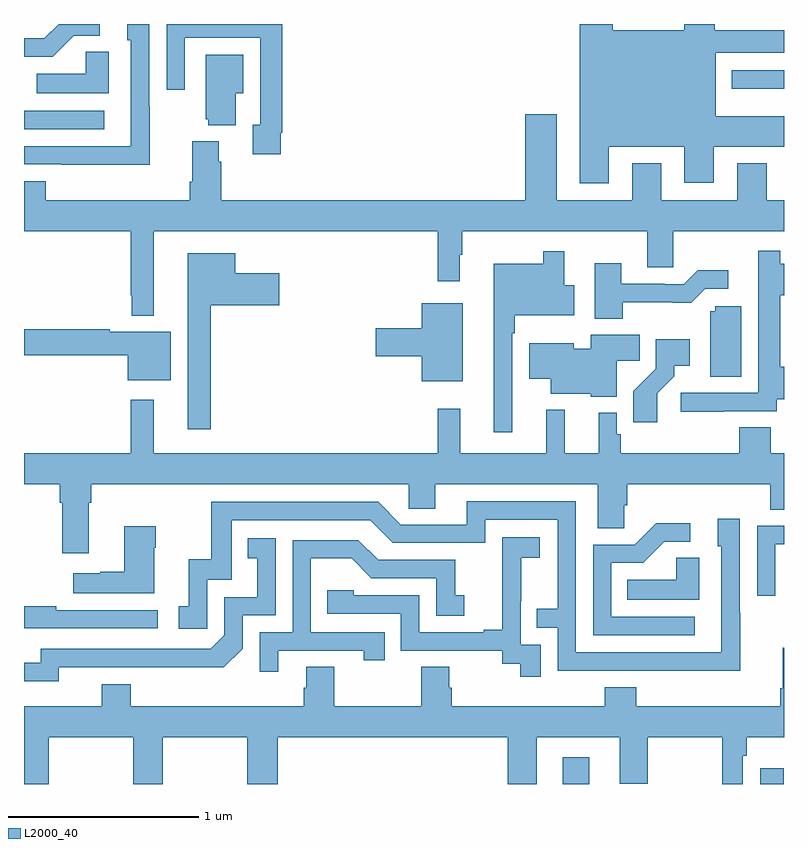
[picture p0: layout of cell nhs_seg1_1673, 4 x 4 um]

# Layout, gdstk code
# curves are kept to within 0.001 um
import gdstk
lib = gdstk.Library(unit=1e-6, precision=1e-09)
def R(c, l, rs):  # rectangles x0, y0, x1, y1
    for r in rs: c.add(gdstk.rectangle(r[:2], r[2:], *l))
def P(c, l, *ps):  # polygons
    for p in ps: c.add(gdstk.Polygon(p, *l))
L2000_40 = (2000, 40)

nhs_seg1_1673 = lib.new_cell('nhs_seg1_1673')
R(nhs_seg1_1673, L2000_40, [(205.835,506.199,205.975,506.341), (206.876,506.199,206.998,506.281), (203,509.646,203.422,509.742), (206.726,509.858,207,509.955)])
P(nhs_seg1_1673, L2000_40, [(203.661,509.765),(203.658,509.765),(203.658,510.199),(203.543,510.199),(203.543,510.114),(203.562,510.114),(203.562,509.556),(203,509.556),(203,509.46),(203.197,509.46),(203.197,509.459),(203.661,509.459)],
  [(206.077,509.552),(206.474,509.552),(206.474,509.364),(206.629,509.364),(206.629,509.552),(207,509.552),(207,509.713),(206.641,509.713),(206.641,510.047),(207,510.047),(207,510.166),(206.635,510.166),(206.635,510.199),(206.474,510.199),(206.474,510.166),(206.098,510.166),(206.098,510.199),(205.925,510.199),(205.925,509.361),(206.077,509.361)],
  [(203.263,510.138),(203.398,510.138),(203.398,510.199),(203.182,510.199),(203.106,510.123),(203,510.123),(203,510.027),(203.152,510.027)],
  [(204.352,509.626),(204.359,509.626),(204.359,510.199),(203.751,510.199),(203.751,509.853),(203.847,509.853),(203.847,510.126),(204.243,510.126),(204.243,509.67),(204.203,509.67),(204.203,509.514),(204.352,509.514)],
  [(203.446,510.053),(203.325,510.053),(203.325,509.938),(203.068,509.938),(203.068,509.834),(203.446,509.834)],
  [(204.115,509.834),(204.154,509.834),(204.154,510.037),(203.957,510.037),(203.957,509.697),(203.969,509.697),(203.969,509.666),(204.115,509.666)],
  [(203.683,509.108),(205.177,509.108),(205.177,508.845),(205.294,508.845),(205.294,508.985),(205.306,508.985),(205.306,509.108),(206.279,509.108),(206.279,508.918),(206.418,508.918),(206.418,509.108),(207,509.108),(207,509.272),(206.908,509.272),(206.908,509.467),(206.753,509.467),(206.753,509.272),(206.353,509.272),(206.353,509.467),(206.201,509.467),(206.201,509.272),(205.804,509.272),(205.804,509.725),(205.637,509.725),(205.637,509.272),(204.038,509.272),(204.038,509.474),(204.025,509.474),(204.025,509.581),(203.885,509.581),(203.885,509.368),(203.873,509.368),(203.873,509.272),(203.114,509.272),(203.114,509.371),(203,509.371),(203,509.108),(203.562,509.108),(203.562,508.771),(203.568,508.771),(203.568,508.664),(203.683,508.664)],
  [(206.681,508.161),(206.961,508.161),(206.961,508.223),(207,508.223),(207,508.394),(206.981,508.394),(206.981,508.771),(207,508.771),(207,508.936),(206.981,508.936),(206.981,509.005),(206.864,509.005),(206.864,508.782),(206.865,508.782),(206.865,508.257),(206.457,508.257),(206.457,508.159),(206.681,508.159)],
  [(205.569,508.571),(205.582,508.571),(205.582,508.667),(205.897,508.667),(205.897,508.825),(205.843,508.825),(205.843,509.002),(205.734,509.002),(205.734,508.936),(205.472,508.936),(205.472,508.05),(205.569,508.05)],
  [(203.983,508.718),(204.343,508.718),(204.343,508.888),(204.112,508.888),(204.112,508.993),(203.861,508.993),(203.861,508.065),(203.983,508.065)],
  [(206.151,508.734),(206.513,508.733),(206.586,508.806),(206.707,508.806),(206.707,508.903),(206.545,508.903),(206.472,508.83),(206.372,508.83),(206.372,508.833),(206.143,508.833),(206.143,508.939),(206.003,508.939),(206.003,508.649),(206.151,508.649)],
  [(205.309,508.729),(205.094,508.729),(205.094,508.598),(204.852,508.598),(204.852,508.451),(205.094,508.451),(205.094,508.319),(205.309,508.319)],
  [(206.776,508.713),(206.637,508.713),(206.637,508.686),(206.612,508.686),(206.612,508.342),(206.776,508.342)],
  [(203.773,508.579),(203.45,508.579),(203.45,508.592),(203,508.592),(203,508.456),(203.546,508.456),(203.546,508.325),(203.773,508.325)],
  [(206.119,508.426),(206.24,508.426),(206.24,508.564),(205.982,508.564),(205.982,508.489),(205.894,508.489),(205.894,508.519),(205.658,508.519),(205.658,508.331),(205.772,508.331),(205.772,508.253),(205.982,508.253),(205.982,508.238),(206.119,508.238)],
  [(206.332,508.255),(206.422,508.345),(206.422,508.4),(206.503,508.4),(206.503,508.54),(206.325,508.54),(206.325,508.385),(206.206,508.266),(206.206,508.104),(206.332,508.104)],
  [(203,507.776),(203.189,507.776),(203.189,507.68),(203.201,507.68),(203.201,507.414),(203.341,507.414),(203.341,507.68),(203.354,507.68),(203.354,507.776),(205.026,507.776),(205.026,507.649),(205.165,507.649),(205.165,507.776),(206.021,507.776),(206.021,507.544),(206.16,507.544),(206.16,507.667),(206.174,507.667),(206.174,507.776),(206.927,507.776),(206.927,507.643),(207,507.643),(207,507.94),(206.93,507.94),(206.93,508.076),(206.765,508.076),(206.765,507.94),(206.141,507.94),(206.141,508.041),(206.121,508.041),(206.121,508.153),(206.024,508.153),(206.024,507.94),(205.847,507.94),(205.847,508.168),(205.748,508.168),(205.748,507.94),(205.295,507.94),(205.295,508.174),(205.177,508.174),(205.177,507.94),(203.683,507.94),(203.683,508.222),(203.562,508.222),(203.562,507.94),(203,507.94)],
  [(206.769,507.101),(206.766,507.101),(206.766,507.595),(206.651,507.595),(206.651,507.45),(206.67,507.45),(206.67,506.892),(205.905,506.892),(205.905,507.687),(205.331,507.687),(205.331,507.564),(204.984,507.564),(204.864,507.684),(203.985,507.684),(203.985,507.382),(203.867,507.382),(203.867,507.135),(203.814,507.135),(203.814,507.015),(203.964,507.015),(203.964,507.273),(204.093,507.273),(204.093,507.588),(204.822,507.588),(204.942,507.468),(205.428,507.468),(205.428,507.591),(205.809,507.591),(205.809,507.122),(205.699,507.122),(205.699,507.021),(205.809,507.021),(205.809,506.796),(206.769,506.795)],
  [(206.53,507.078),(206.091,507.078),(206.091,507.363),(206.26,507.363),(206.371,507.474),(206.506,507.474),(206.506,507.572),(206.327,507.572),(206.214,507.459),(205.995,507.459),(205.995,506.982),(206.53,506.982)],
  [(206.955,507.462),(207,507.462),(207,507.558),(206.859,507.558),(206.859,507.189),(206.955,507.189)],
  [(203.686,507.443),(203.694,507.443),(203.694,507.556),(203.528,507.556),(203.528,507.317),(203.402,507.317),(203.402,507.307),(203.259,507.307),(203.259,507.203),(203.686,507.203)],
  [(205.719,506.931),(205.614,506.931),(205.614,507.161),(205.616,507.161),(205.616,507.389),(205.714,507.389),(205.714,507.499),(205.516,507.499),(205.516,507.293),(205.517,507.293),(205.517,507.01),(205.421,507.01),(205.421,506.997),(205.08,506.997),(205.08,507.192),(204.735,507.192),(204.735,507.219),(204.595,507.219),(204.595,507.096),(204.984,507.096),(204.984,506.901),(205.518,506.901),(205.518,506.833),(205.611,506.833),(205.611,506.763),(205.719,506.763)],
  [(203.184,506.814),(204.052,506.813),(204.15,506.91),(204.15,507.087),(204.324,507.087),(204.324,507.493),(204.178,507.493),(204.178,507.387),(204.227,507.387),(204.227,507.183),(204.054,507.183),(204.054,506.982),(203.982,506.91),(203.088,506.91),(203.088,506.838),(203,506.838),(203,506.741),(203.184,506.741)],
  [(204.337,506.901),(204.788,506.901),(204.788,506.85),(204.899,506.85),(204.899,506.997),(204.51,506.997),(204.51,507.386),(204.724,507.386),(204.828,507.282),(205.17,507.282),(205.17,507.084),(205.318,507.084),(205.318,507.193),(205.269,507.193),(205.269,507.378),(204.865,507.378),(204.76,507.483),(204.414,507.483),(204.414,506.997),(204.24,506.997),(204.24,506.79),(204.337,506.79)],
  [(206.554,507.389),(206.433,507.389),(206.433,507.274),(206.176,507.274),(206.176,507.17),(206.554,507.17)],
  [(203.704,507.114),(203.171,507.114),(203.171,507.134),(203,507.134),(203,507.018),(203.704,507.018)],
  [(203.13,506.444),(203.575,506.444),(203.575,506.199),(203.73,506.199),(203.73,506.444),(204.175,506.444),(204.175,506.199),(204.335,506.199),(204.335,506.444),(205.547,506.444),(205.547,506.199),(205.699,506.199),(205.699,506.444),(206.135,506.444),(206.135,506.201),(206.283,506.201),(206.283,506.444),(206.676,506.444),(206.676,506.199),(206.784,506.199),(206.784,506.348),(206.804,506.348),(206.804,506.444),(207,506.444),(207,506.917),(206.993,506.917),(206.993,506.704),(206.981,506.704),(206.981,506.608),(206.222,506.608),(206.222,506.707),(206.057,506.707),(206.057,506.608),(205.25,506.608),(205.25,506.706),(205.237,506.706),(205.237,506.816),(205.09,506.816),(205.09,506.608),(204.633,506.608),(204.633,506.816),(204.485,506.816),(204.485,506.706),(204.473,506.706),(204.473,506.608),(203.561,506.608),(203.561,506.725),(203.408,506.725),(203.408,506.608),(203,506.608),(203,506.199),(203.13,506.199)])

lib.write_gds('nhs_seg1_1673.gds')
